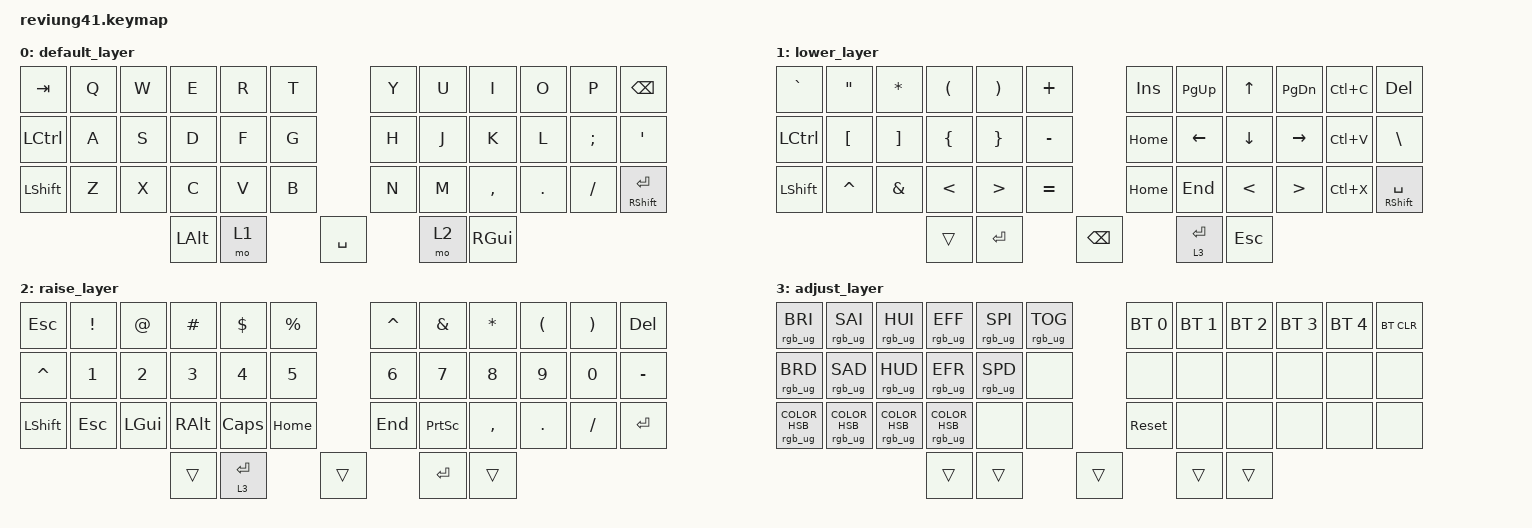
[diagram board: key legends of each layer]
/*
 * Copyright (c) 2020 The ZMK Contributors
 *
 * SPDX-License-Identifier: MIT
 */

#include <behaviors.dtsi>
#include <dt-bindings/zmk/bt.h>
#include <dt-bindings/zmk/keys.h>
#include <dt-bindings/zmk/rgb.h>

/ {
    keymap {
        compatible = "zmk,keymap";

        default_layer {
            // -------------------------------------------------------------------------------------
            // |  TAB |  Q  |  W  |  E  |  R  |  T  |   |  Y  |  U   |  I  |  O  |  P  |   BSPC    |
            // | CTRL |  A  |  S  |  D  |  F  |  G  |   |  H  |  J   |  K  |  L  |  ;  |    '      |
            // | SHFT |  Z  |  X  |  C  |  V  |  B  |   |  N  |  M   |  ,  |  .  |  /  | SHFT(RET) |
            //                         | ALT | LWR | SPC | RSE  | ALT |

            bindings = <
&kp TAB    &kp Q  &kp W  &kp E     &kp R  &kp T             &kp Y  &kp U  &kp I      &kp O    &kp P     &kp BSPC
&kp LCTRL  &kp A  &kp S  &kp D     &kp F  &kp G             &kp H  &kp J  &kp K      &kp L    &kp SEMI  &kp SQT
&kp LSHFT  &kp Z  &kp X  &kp C     &kp V  &kp B             &kp N  &kp M  &kp COMMA  &kp DOT  &kp FSLH  &mt RSHFT RET
                         &kp LALT  &mo 1         &kp SPACE         &mo 2  &kp RGUI
            >;
        };

        lower_layer {
            // ------------------------------------------------------------------------------------
            // |    |  !  |  @  |  #  |  $  |  %  |   |  ^  |  &  |  *  |  (  |  )  |      DEL    |
            // |    |  _  |  +  |  {  |  }  | "|" |   | LFT | DWN |  UP | RGT |  `  |       ~     |
            // |    | ESC | GUI | ALT | CAPS|  "  |   | HOME| END | PGUP| PGDN| PRSC| SHFT(SPACE) |
            //                       |     |     | RET | ADJ |     |

            bindings = <
&kp GRAVE  &kp DOUBLE_QUOTES  &kp ASTRK  &kp LEFT_PARENTHESIS  &kp RIGHT_PARENTHESIS  &kp PLUS                  &kp INS   &kp PAGE_UP  &kp UP_ARROW   &kp PAGE_DOWN     &kp LC(C)  &kp DEL
&kp LCTRL  &kp LBKT           &kp RBKT   &kp LEFT_BRACE        &kp RIGHT_BRACE        &kp MINUS                 &kp HOME  &kp LEFT     &kp DOWN       &kp RIGHT         &kp LC(V)  &kp BACKSLASH
&kp LSHFT  &kp CARET          &kp AMPS   &kp LESS_THAN         &kp GREATER_THAN       &kp EQUAL                 &kp HOME  &kp END      &kp LESS_THAN  &kp GREATER_THAN  &kp LC(X)  &mt RSHFT SPACE
                                         &trans                &kp ENTER                         &kp BACKSPACE            &lt 3 ENTER  &kp ESCAPE
            >;
        };

        raise_layer {
            // ----------------------------------------------------------------------------
            // |    |  1  |  2  |  3  |  4  |  5  |   |  6  |  7  |  8  |  9  |  0  | DEL |
            // |    |  -  |  =  |  [  |  ]  |  \  |   | F1  | F2  | F3  | F4  | F5  | F6  |
            // |    | ESC | GUI | ALT | CAPS|  "  |   | F7  | F8  | F9  | F10 | F11 | F12 |
            //                       |     | ADJ | BSPC |    |     |

            bindings = <
&kp ESCAPE      &kp EXCLAMATION  &kp AT_SIGN  &kp HASH  &kp DOLLAR   &kp PERCENT          &kp CARET  &kp AMPS         &kp ASTRK  &kp LEFT_PARENTHESIS  &kp RIGHT_PARENTHESIS  &kp DEL
&kp CARET       &kp N1           &kp N2       &kp N3    &kp N4       &kp N5               &kp N6     &kp N7           &kp N8     &kp N9                &kp N0                 &kp MINUS
&kp LEFT_SHIFT  &kp ESC          &kp LGUI     &kp RALT  &kp CLCK     &kp HOME             &kp END    &kp PRINTSCREEN  &kp COMMA  &kp PERIOD            &kp SLASH              &kp ENTER
                                              &trans    &lt 3 ENTER               &trans             &kp ENTER        &trans
            >;
        };

        adjust_layer {
            // -----------------------------------------------------------------------------------------
            // | RGB BRI+ | RGB SAT+ | RGB HUE+ | RGB ANI+ |    | RGB TOG |   |  BT1  | BT2 | BT3 | BT4 | BT5 | BT CLR |
            // | RGB BRI- | RGB SAT- | RGB HUE- | RGB ANI- |    |         |   |       |     |     |     |     |        |
            // |          |          |          |          |    |         |   | RESET |     |     |     |     |        |
            //                                              |     |     |     |     |     |

            bindings = <
&rgb_ug RGB_BRI                   &rgb_ug RGB_SAI                    &rgb_ug RGB_HUI                    &rgb_ug RGB_EFF                    &rgb_ug RGB_SPI  &rgb_ug RGB_TOG          &bt BT_SEL 0  &bt BT_SEL 1  &bt BT_SEL 2  &bt BT_SEL 3  &bt BT_SEL 4  &bt BT_CLR
&rgb_ug RGB_BRD                   &rgb_ug RGB_SAD                    &rgb_ug RGB_HUD                    &rgb_ug RGB_EFR                    &rgb_ug RGB_SPD  &none                    &none         &none         &none         &none         &none         &none
&rgb_ug RGB_COLOR_HSB(360,91,51)  &rgb_ug RGB_COLOR_HSB(232,100,50)  &rgb_ug RGB_COLOR_HSB(134,100,61)  &rgb_ug RGB_COLOR_HSB(303,100,50)  &none            &none                    &sys_reset    &none         &none         &none         &none         &none
                                                                                                        &trans                             &trans                            &trans                &trans        &trans
            >;
        };
    };
};
